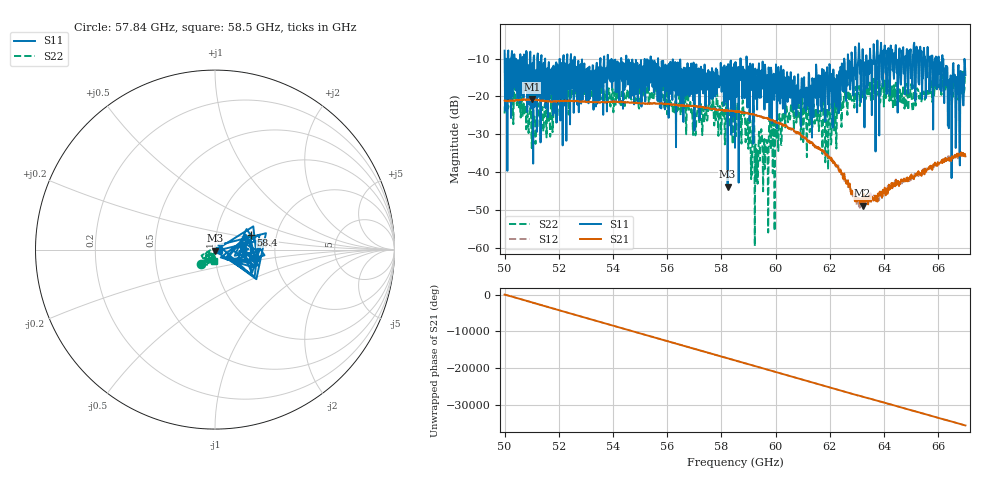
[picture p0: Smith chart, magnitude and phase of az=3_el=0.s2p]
!Created with skrf (http://scikit-rf.org).
# GHz S RI R 50.0
!freq ReS11 ImS11 ReS21 ImS21 ReS12 ImS12 ReS22 ImS22
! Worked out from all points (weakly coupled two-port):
!   1001 points, 50 GHz to 67 GHz, reference 50 ohm
!   highest |S21| = -20.72 dB at 51 GHz (marker M1); lowest = -48.8 dB at 63.21 GHz (marker M2)
!   lowest |S11| = -43.8 dB at 58.23 GHz (marker M3), VSWR 1.01, Z = 49.8 - j0.623 ohm
!   |S11| at or under -10 dB: 52.58 GHz to 53.53 GHz (949.6 MHz wide, 1.79 % of centre); 55.66 GHz to 58.7 GHz (3.042 GHz wide, 5.32 % of centre); 58.93 GHz to 62.66 GHz (3.734 GHz wide, 6.14 % of centre) (the widest 3 of 59)
!   |S22| runs from -59.5 to -13.3 dB; largest |S21 - S12| = 0.0025
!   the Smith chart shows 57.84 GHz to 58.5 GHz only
!   S11 on the Smith chart (normalised r, x): 57.84 GHz: 1.56, -0.15; 58.4 GHz: 1.47, +0.26; 58.5 GHz: 1.04, -0.01
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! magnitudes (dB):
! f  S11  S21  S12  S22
! 50 GHz  -7.9  -21.1  -21.1  -24.5
! 50.15 GHz  -21.0  -21.2  -21.2  -21.2
! 51 GHz  -12.9  -20.7  -20.7  -33.6
! 52.84 GHz  -12.1  -21.4  -21.3  -19.3
! 55.68 GHz  -13.3  -21.9  -21.8  -21.1
! 57.84 GHz  -13.0  -23.6  -23.6  -18.9
! 58.23 GHz  -43.8  -23.6  -23.6  -23.5
! 58.4 GHz  -13.3  -23.8  -23.8  -26.7
! 58.5 GHz  -33.5  -24.0  -24.0  -23.9
! 59.11 GHz  -13.1  -24.7  -24.8  -35.5
! 59.32 GHz  -23.5  -25.1  -25.1  -34.1
! 59.44 GHz  -13.8  -25.3  -25.3  -32.2
! 59.64 GHz  -18.5  -25.7  -25.7  -32.5
! 60.34 GHz  -14.9  -27.7  -27.8  -25.8
! 61.34 GHz  -30.8  -32.2  -32.5  -26.7
! 61.88 GHz  -15.6  -35.6  -35.7  -24.4
! 63.21 GHz  -7.5  -48.8  -47.7  -18.9
! 64.18 GHz  -11.8  -43.3  -43.9  -17.3
! 66.1 GHz  -14.3  -37.3  -37.4  -18.6
! 66.44 GHz  -19.3  -36.4  -35.8  -16.2
! 66.86 GHz  -18.9  -35.6  -35.1  -16.4
! 67 GHz  -14.4  -35.8  -35.0  -14.3
